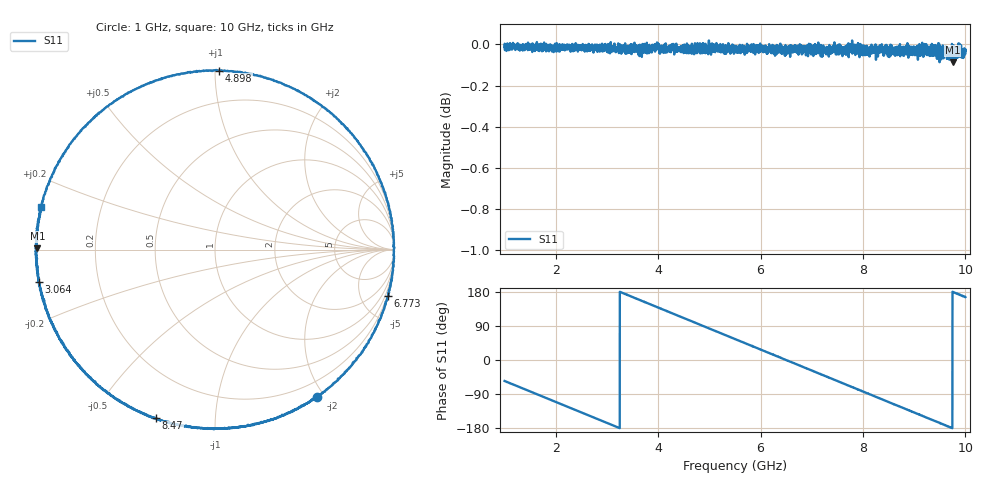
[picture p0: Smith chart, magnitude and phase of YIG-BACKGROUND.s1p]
#  HZ  S  RI  R  50.0
! Rohde & Schwarz ZVL13 2Ports - Version 3.31 - 1303.6509k13 SN: 101088
! Date: 2023-03-02 16:54:03
! Data & Calibration Information:
! Trc2:S21(Trans Norm)
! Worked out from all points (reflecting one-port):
!   4000 points, 1 GHz to 10 GHz, reference 50 ohm
!   lowest |S11| = -0.1 dB at 9.752 GHz (marker M1), VSWR 197.76, Z = 0.253 + j0.169 ohm
!   phase of S11 starts at -55 deg and turns -499 deg over the sweep
!   S11 on the Smith chart (normalised r, x): 1 GHz: 0.00, -1.90; 3.064 GHz: 0.00, -0.09; 4.898 GHz: 0.00, +1.02; 6.773 GHz: 0.06, -7.56; 8.47 GHz: 0.00, -0.71; 10 GHz: 0.00, +0.12
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1e9  0.5669 -0.822
1.308327e9  0.3017 -0.9531
1.567142e9  0.0562 -0.9978
1.857464e9  -0.224 -0.9732
2.125281e9  -0.4635 -0.8837
2.618155e9  -0.8165 -0.5721
3.063766e9  -0.9802 -0.1789
3.250563e9  -0.9979 0.00253
3.516129e9  -0.9644 0.2553
3.786197e9  -0.8679 0.4937
4.08102e9  -0.6896 0.7197
4.375844e9  -0.4613 0.8849
4.630158e9  -0.2308 0.9687
4.897974e9  0.0236 0.996
5.210803e9  0.3215 0.9457
5.501125e9  0.5697 0.8178
6.066017e9  0.9119 0.4044
6.35859e9  0.9882 0.1358
6.626407e9  0.9898 -0.1219
6.772693e9  0.9637 -0.2595
7.254314e9  0.742 -0.6656
7.751688e9  0.3506 -0.9323
8.114029e9  0.00804 -0.9975
8.469617e9  -0.3274 -0.9397
8.876969e9  -0.6639 -0.7419
9.356339e9  -0.9266 -0.3659
9.752438e9  -0.9899 0.00671
1e10  -0.9656 0.2404
